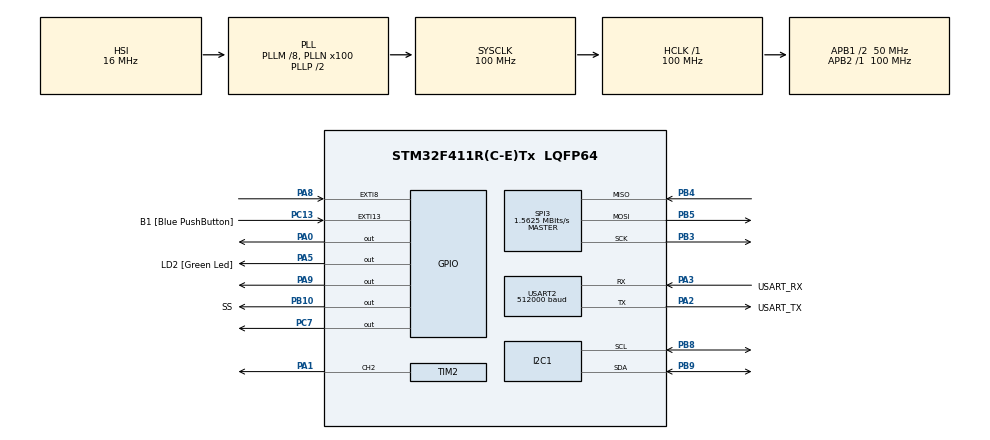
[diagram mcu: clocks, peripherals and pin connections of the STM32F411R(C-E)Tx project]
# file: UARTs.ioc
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Dma.Request0=USART2_TX
Dma.Request1=USART2_RX
Dma.Request2=SPI3_RX
Dma.Request3=SPI3_TX
Dma.SPI3_RX.2.Direction=DMA_PERIPH_TO_MEMORY
Dma.SPI3_RX.2.FIFOMode=DMA_FIFOMODE_DISABLE
Dma.SPI3_RX.2.Instance=DMA1_Stream0
Dma.SPI3_RX.2.MemDataAlignment=DMA_MDATAALIGN_BYTE
Dma.SPI3_RX.2.MemInc=DMA_MINC_ENABLE
Dma.SPI3_RX.2.Mode=DMA_CIRCULAR
Dma.SPI3_RX.2.PeriphDataAlignment=DMA_PDATAALIGN_BYTE
Dma.SPI3_RX.2.PeriphInc=DMA_PINC_DISABLE
Dma.SPI3_RX.2.Priority=DMA_PRIORITY_HIGH
Dma.SPI3_TX.3.Direction=DMA_MEMORY_TO_PERIPH
Dma.SPI3_TX.3.FIFOMode=DMA_FIFOMODE_DISABLE
Dma.SPI3_TX.3.Instance=DMA1_Stream7
Dma.SPI3_TX.3.MemDataAlignment=DMA_MDATAALIGN_BYTE
Dma.SPI3_TX.3.MemInc=DMA_MINC_ENABLE
Dma.SPI3_TX.3.Mode=DMA_NORMAL
Dma.SPI3_TX.3.PeriphDataAlignment=DMA_PDATAALIGN_BYTE
Dma.SPI3_TX.3.PeriphInc=DMA_PINC_DISABLE
Dma.SPI3_TX.3.Priority=DMA_PRIORITY_LOW
Dma.USART2_RX.1.Direction=DMA_PERIPH_TO_MEMORY
Dma.USART2_RX.1.FIFOMode=DMA_FIFOMODE_DISABLE
Dma.USART2_RX.1.Instance=DMA1_Stream5
Dma.USART2_RX.1.MemDataAlignment=DMA_MDATAALIGN_BYTE
Dma.USART2_RX.1.MemInc=DMA_MINC_ENABLE
Dma.USART2_RX.1.Mode=DMA_CIRCULAR
Dma.USART2_RX.1.PeriphDataAlignment=DMA_PDATAALIGN_BYTE
Dma.USART2_RX.1.PeriphInc=DMA_PINC_DISABLE
Dma.USART2_RX.1.Priority=DMA_PRIORITY_VERY_HIGH
Dma.USART2_TX.0.Direction=DMA_MEMORY_TO_PERIPH
Dma.USART2_TX.0.FIFOMode=DMA_FIFOMODE_DISABLE
Dma.USART2_TX.0.Instance=DMA1_Stream6
Dma.USART2_TX.0.MemDataAlignment=DMA_MDATAALIGN_BYTE
Dma.USART2_TX.0.MemInc=DMA_MINC_ENABLE
Dma.USART2_TX.0.Mode=DMA_NORMAL
Dma.USART2_TX.0.PeriphDataAlignment=DMA_PDATAALIGN_BYTE
Dma.USART2_TX.0.PeriphInc=DMA_PINC_DISABLE
Dma.USART2_TX.0.Priority=DMA_PRIORITY_LOW
I2C1.I2C_Mode=I2C_Fast
Mcu.Family=STM32F4
Mcu.Name=STM32F411R(C-E)Tx
Mcu.Package=LQFP64
NVIC.DMA1_Stream0_IRQn=true\:0\:0\:false\:false\:true\:false\:true\:true
NVIC.DMA1_Stream5_IRQn=true\:0\:0\:false\:false\:true\:false\:true\:true
NVIC.DMA1_Stream6_IRQn=true\:0\:0\:false\:false\:true\:false\:true\:true
NVIC.DMA1_Stream7_IRQn=true\:0\:0\:false\:false\:true\:false\:true\:true
NVIC.EXTI15_10_IRQn=true\:0\:0\:false\:false\:true\:true\:true\:true
NVIC.EXTI9_5_IRQn=true\:0\:0\:false\:false\:true\:true\:true\:true
NVIC.I2C1_ER_IRQn=true\:0\:0\:false\:false\:true\:true\:true\:true
NVIC.I2C1_EV_IRQn=true\:0\:0\:false\:false\:true\:true\:true\:true
NVIC.PriorityGroup=NVIC_PRIORITYGROUP_0
NVIC.SPI3_IRQn=true\:0\:0\:false\:false\:true\:true\:true\:true
NVIC.TIM1_TRG_COM_TIM11_IRQn=true\:0\:0\:false\:false\:true\:true\:true\:true
NVIC.TIM2_IRQn=true\:0\:0\:false\:false\:true\:true\:true\:true
NVIC.USART2_IRQn=true\:0\:0\:false\:false\:true\:true\:true\:true
PA0-WKUP.Signal=GPIO_Output
PA1.Signal=S_TIM2_CH2
PA13.GPIO_Label=TMS
PA13.Mode=Serial_Wire
PA13.Signal=SYS_JTMS-SWDIO
PA14.GPIO_Label=TCK
PA14.Mode=Serial_Wire
PA14.Signal=SYS_JTCK-SWCLK
PA2.GPIO_Label=USART_TX
PA2.Mode=Asynchronous
PA2.Signal=USART2_TX
PA3.GPIO_Label=USART_RX
PA3.Mode=Asynchronous
PA3.Signal=USART2_RX
PA5.GPIO_Label=LD2 [Green Led]
PA5.Signal=GPIO_Output
PA8.GPIO_ModeDefaultEXTI=GPIO_MODE_IT_RISING_FALLING
PA8.Signal=GPXTI8
PA9.Signal=GPIO_Output
PB10.GPIO_Label=SS
PB10.Signal=GPIO_Output
PB3.Mode=Full_Duplex_Master
PB3.Signal=SPI3_SCK
PB4.Mode=Full_Duplex_Master
PB4.Signal=SPI3_MISO
PB5.Mode=Full_Duplex_Master
PB5.Signal=SPI3_MOSI
PB8.Mode=I2C
PB8.Signal=I2C1_SCL
PB9.Mode=I2C
PB9.Signal=I2C1_SDA
PC13-ANTI_TAMP.GPIO_Label=B1 [Blue PushButton]
PC13-ANTI_TAMP.GPIO_ModeDefaultEXTI=GPIO_MODE_IT_FALLING
PC13-ANTI_TAMP.Signal=GPXTI13
PC14-OSC32_IN.Mode=LSE-External-Oscillator
PC14-OSC32_IN.Signal=RCC_OSC32_IN
PC15-OSC32_OUT.Mode=LSE-External-Oscillator
PC15-OSC32_OUT.Signal=RCC_OSC32_OUT
PC7.Signal=GPIO_Output
PH0\ -\ OSC_IN.Mode=HSE-External-Clock-Source
PH0\ -\ OSC_IN.Signal=RCC_OSC_IN
PH1\ -\ OSC_OUT.Mode=HSE-External-Clock-Source
PH1\ -\ OSC_OUT.Signal=RCC_OSC_OUT
ProjectManager.HeapSize=0x200
ProjectManager.StackSize=0x400
ProjectManager.TargetToolchain=STM32CubeIDE
RCC.48MHZClocksFreq_Value=50000000
RCC.AHBFreq_Value=100000000
RCC.APB1CLKDivider=RCC_HCLK_DIV2
RCC.APB1Freq_Value=50000000
RCC.APB1TimFreq_Value=100000000
RCC.APB2Freq_Value=100000000
RCC.APB2TimFreq_Value=100000000
RCC.CortexFreq_Value=100000000
RCC.FLatency-AdvancedSettings=FLASH_LATENCY_3
RCC.HCLKFreq_Value=100000000
RCC.HSE_VALUE=8000000
RCC.HSI_VALUE=16000000
RCC.PLLM=8
RCC.PLLN=100
RCC.SYSCLKFreq_VALUE=100000000
RCC.SYSCLKSource=RCC_SYSCLKSOURCE_PLLCLK
RCC.VCOOutputFreq_Value=200000000
SH.S_TIM2_CH2.0=TIM2_CH2,PWM Generation2 CH2
SPI3.BaudRatePrescaler=SPI_BAUDRATEPRESCALER_32
SPI3.CalculateBaudRate=1.5625 MBits/s
SPI3.Direction=SPI_DIRECTION_2LINES
SPI3.Mode=SPI_MODE_MASTER
SPI3.VirtualType=VM_MASTER
TIM11.Prescaler=99
TIM2.Channel-PWM\ Generation2\ CH2=TIM_CHANNEL_2
TIM2.Period=9999
TIM2.Prescaler=99
USART2.BaudRate=512000
USART2.Parity=PARITY_EVEN
USART2.VirtualMode=VM_ASYNC
USART2.WordLength=WORDLENGTH_9B
VP_TIM11_VS_ClockSourceINT.Mode=Enable_Timer
VP_TIM2_VS_ClockSourceINT.Mode=Internal
board=NUCLEO-F411RE

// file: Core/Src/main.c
/* USER CODE BEGIN Header */
/**
  ******************************************************************************
  * @file           : main.c
  * @brief          : Main program body
  ******************************************************************************
  * @attention
  *
  * Copyright (c) 2022 STMicroelectronics.
  * All rights reserved.
  *
  * This software is licensed under terms that can be found in the LICENSE file
  * in the root directory of this software component.
  * If no LICENSE file comes with this software, it is provided AS-IS.
  *
  ******************************************************************************
  */
/* USER CODE END Header */
#include "main.h"

/* USER CODE BEGIN Includes */
#include <stdio.h>
#include <string.h>
#include <stdlib.h>
#include <math.h>
/* USER CODE END Includes */

/* USER CODE BEGIN PD */
//Parameter for Adjust
#define dt 0.01
#define Q 10000000
#define R 500000000
#define NFW_ADDR (0x23)<<1
#define NFR_ADDR ((0x23)<<1)+1
/* USER CODE END PD */

 I2C_HandleTypeDef hi2c1;

SPI_HandleTypeDef hspi3;
DMA_HandleTypeDef hdma_spi3_rx;
DMA_HandleTypeDef hdma_spi3_tx;

TIM_HandleTypeDef htim2;
TIM_HandleTypeDef htim11;

UART_HandleTypeDef huart2;
DMA_HandleTypeDef hdma_usart2_tx;
DMA_HandleTypeDef hdma_usart2_rx;

/* USER CODE BEGIN PV */
float velo_Kp = 0;
float velo_Ki = 0;
float velo_Kd = 0;
float pos_Kp = 4.07697250571067;
float pos_Ki = 3.71617437483172;
float pos_Kd = 0.25445435315971;
uint8_t setinitial = 1;
//float offset = 1.59;
float offset = 1.57;
/* ---------------------------- < Communications's VARIABLE > ------ */

// ---------------------------- < State machine >
uint8_t nDestination = 0;			// Amount of destination.
uint16_t Destination[50] = {0};		// List of destinations.

uint8_t nStation = 0;				// Amount of station.			(NOT AVAILABLE, JUST FOR SHOWING)
uint8_t Station[50] = {0};			// Station stack.				(NOT AVAILABLE, JUST FOR SHOWING)
uint8_t nowStation = 0;				// Now position of machine.		(NOT AVAILABLE, JUST FOR SHOWING)
uint8_t j = 0;

uint8_t Reached = 0;				// Reached destination. (final destination)
uint8_t movingFlag = 0;				// Moving flag for each command(5,8,14). -> can implement single variable and assign different value

float rad = 0;
float limitOmega = 5;				// Limited angular velocity by the Base system.
float topOmega = 0;					// Top angular velocity recorded.ของเรา
uint8_t n = 0;						// Check for count

// ---------------------------- < UART >
uint8_t ACK1[2] = {88,117};
uint8_t ACK2[2] = {70,110};

uint8_t TxState = 0;				// Transmit state.
uint8_t RxState = 0;				// Receive state.
uint8_t Start = 0;					// Start bit of command.
uint8_t Mode = 0;					// Mode bit of command.
uint8_t nbyte = 1;					// 1 bytes by default.
uint8_t sum = 0;					// Sum of frame.

uint8_t Transmit[4] = {0};			// Transmit Buffer.
uint8_t Receive[16] = {0};			// Receive Buffer	-> Receive 1 bytes by default. ,260 bytes are maximum all of case. (+1(Header)+1(n Station)+256(max Station)+1(Checksum)=259bytes)
uint8_t keepACK[2] = {0};

uint8_t RxComplete = 0;			// Interrupt each period buffer(Receive[nbyte]).
uint8_t endReceive = 0;				// Flag to reset after finished transmission of frame.
uint8_t ACKFlag = 0;				// Received ACK flag.
uint32_t timeStamp = 0;				// Optional.
uint16_t HMEtimeStamp = 0;		// time stamp for transmit zero(theta) to base system.
float send_velocity;

//I2C
uint8_t NFREG_ON = 0x45;
uint8_t NFREG_INIT = 0x23;

uint8_t NFenable = 1;
uint8_t NFstate = 0;
uint8_t NFwriteFlag = 1;
uint8_t NFreadFlag = 0;

uint16_t NFtimest = 0;
uint64_t NFtimeout = 0;
uint8_t stateI2C = 0;

//spi
const float PI = 3.14159265;
uint8_t AMTGETPOS[2] 	= { 0x00, 0x00};					// Read position.
uint8_t AMTGETTURN[4] 	= { 0x00, 0xA0, 0x00, 0x00};		// Read turn.
uint8_t AMTRESET[2] 	= { 0x00, 0x60};					// Reset encoder.
uint8_t AMTHbyte;										// Received data high byte.
uint8_t AMTLbyte;										// Received data low byte.
uint8_t AMTlogic_checkbit = 0;								// Checkbit logic.
uint16_t rawPos = 0;										// Position variable
float current_rad = 0;												// Angle in radiant unit.
float current_rad_wrap = 0;
float deg = 0;												// Angle in degree unit.
uint8_t trigger = 0;
uint8_t AMTstate = 0;
uint8_t AMTcomplete = 1;

//Unwrapping
float p_n = 0;
float p_n_1 = 0; // input data ที่ n-1
float p_0 = 0; // ตัว�?ปร p0[n]
float p_0_1 = 0; // ตัว�?ปร p0[n-1]
float p_max = 2*PI; // �?ำหนดให้ค่า p_max อยู่ที่ 2*pi
float e = 0.65*2*PI;

//Parameter for coding
uint8_t setzero = 0;
uint64_t _micro = 0;
uint8_t stop = 0;
float kal_position = 0; //Collect Result
float kal_velocity = 0; //Collect Result
float kal_acceleration = 0; //Collect Result
float tra_pos = 0;
float tra_velo = 0;
float tra_acc = 0;
static float tb;
static float vb_n;
static float tf;
float tua;
static float tuaall;
float tuastart = 0.1;
float inputpos = 0; //rad_in
float inputdeg = 0; //deg_in
float inputrpm = 5;
float postotra = 0;
float rad_before;
uint8_t direct = 1;
uint8_t update = 0;
uint8_t blue = 0;
uint8_t start_tra;
enum{Idle,Working, Laser,Emerstop}State = Idle;
float velostart;
uint8_t PIDon = 0;
float ch_velo;
float finish = 0;
float firstcheck = 1;
float ch;

//PID
float limMin = -100;
float limMax = 100;
float integrator;
float prevError;
float differentiator;
float prevMeasurement;
float integrator2;
float prevError2;
float differentiator2;
float prevMeasurement2;
float PIDout;
float poscommand;
float velocom;
float error;
float volt_controller;

//Parameters For Kalman filer
float DegAbs[3][3]; // Z_k
float multiply[3][3];
float pm3_3[3][3];
float collect3_3[3][3];
float y_k[3][3];
float S_k[3][3];
float K_k[3][3];
float I[3][3] = {{1,0,0},{0,1,0},{0,0,1}};
float F_t[3][3] = {{1,dt,(dt*dt)/2},{0,1,dt},{0,0,1}};
float F_t_tran[3][3] = {{1,0,0},{dt,1,0},{(dt*dt)/2,dt,1}};
float H_t[3][3] = {{0,1,0}};
float H_t_tran[3][3] = {{0},{1},{0}};
float R_t[3][3] = {{R}};
float X_t[3][3];
float X_hat_t[3][3] = {{0},{0},{0}};
float P_t[3][3] = {{0,0,0},{0,0,0},{0,0,0}};
float P_hat_t[3][3];
float Q_t[3][3] = {{Q*dt*dt*dt*dt/4,Q*dt*dt*dt/2,Q*dt*dt/2},{Q*dt*dt*dt/2,Q*dt*dt,Q*dt},{Q*dt*dt/2,Q*dt,Q}}; // G*Q_variance*G'
float velo_lowpass;
float prevlowpass;
float velo_diff;
float prevPos;
float pos_lowpass;
float prevposlowpass;

float velo_diff2;
float prevPos2;

//Inverse tranfer
float volt_inverse;
float x_n;
float x_n_1;
float x_n_2;
float y_n_1;
/* USER CODE END PV */

void SystemClock_Config(void);
static void MX_GPIO_Init(void);
static void MX_DMA_Init(void);
static void MX_USART2_UART_Init(void);
static void MX_TIM11_Init(void);
static void MX_SPI3_Init(void);
static void MX_TIM2_Init(void);
static void MX_I2C1_Init(void);
/* USER CODE BEGIN PFP */
//Control
void Trajectory(float qf,float vb);
void Drivemotor(int PWM);
uint64_t micros();
uint32_t aaabs(int x);
void Multiply_matrix(float A[][3], float B[][3],float multiply[][3],int row1,int col1,int row2,int col2);
void PlusOrMinus(float A[][3], float B[][3],int row,int col,int con);
void equal(float A[][3],float B[][3],int row,int col);
void prediction(X_hat_t_1, P_t_1, F_t, Q_t);
void Update(X_hat_t, P_hat_t, DegAbs, R_t, H_t);
void CascadeController();
void lowpass();
void reset();
void Diff_velo();
void inverse_tran();
void MoveToStation();
void set_initial();
void set_home();
void Kalman_filter();
//spi
void AMT222getpos();
uint8_t AMT222checkbit( uint8_t *H, uint8_t *L);
void microsecDelay(uint8_t delayTime);
void unwrapping();
//uart
void callUART();
void responseUART();
void destinationACK();
uint16_t tranStation(uint8_t num);
uint8_t frameConfig(uint8_t mode);
uint8_t checkSum(uint8_t var);
uint8_t frameSum(uint8_t *frame, uint8_t num);
//I2C
void NFcontacton();
void NFgetstate();

/* USER CODE END PFP */

int main(void)
{

  /* MCU Configuration--------------------------------------------------------*/

  /* Reset of all peripherals, Initializes the Flash interface and the Systick. */
  HAL_Init();

  /* Configure the system clock */
  SystemClock_Config();

  /* Initialize all configured peripherals */
  MX_GPIO_Init();
  MX_DMA_Init();
  MX_USART2_UART_Init();
  MX_TIM11_Init();
  MX_SPI3_Init();
  MX_TIM2_Init();
  MX_I2C1_Init();
  /* USER CODE BEGIN 2 */

  HAL_TIM_Base_Start_IT(&htim11);
  HAL_UART_Receive_DMA(&huart2, Receive, nbyte);
  NFgetstate();
  NFstate = 0x78;
  //PWM Generator set
  HAL_TIM_Base_Start(&htim2);
  HAL_TIM_PWM_Start(&htim2, TIM_CHANNEL_1);
  HAL_TIM_PWM_Start(&htim2, TIM_CHANNEL_2);

  //Encoder set
  HAL_GPIO_WritePin(GPIOB, GPIO_PIN_10, GPIO_PIN_SET);

  movingFlag = 14;

  /* USER CODE END 2 */

  /* Infinite loop */
  /* USER CODE BEGIN WHILE */
  while (1)
  {
	  static uint64_t timeset = 0;
	  static uint64_t timeset2 = 0;
	  static uint64_t timeset3 = 0;
	  static uint64_t timeStamp = 0;
	  static GPIO_PinState B1State2[2] = {0};
	  B1State2[0]= HAL_GPIO_ReadPin(GPIOA, GPIO_PIN_8);

	  if(AMTcomplete || micros()-timeStamp>dt*1000){
	  		 AMT222getpos(&rawPos);
	  		 //Drivemotor(PIDout);
	  	  }

	  switch(State){
	  default:
		  case Idle:
			  HAL_GPIO_WritePin(GPIOA, GPIO_PIN_9, GPIO_PIN_RESET);
			  HAL_GPIO_WritePin(GPIOC, GPIO_PIN_7, GPIO_PIN_SET);
			  if (micros() - timeset3 > dt*1000000){ //Read Value while Idle
				  lowpass();
				  Diff_velo();
				  Kalman_filter();
				  timeset3 = micros();
			  }

			  if(setinitial == 1){ // Condition for first start
				  set_initial();
			  }

			  if(setzero == 1){ // Condition for Set home
				  set_home();
			  }

			  if(update == 1){ //UART Update
				  MoveToStation();
			  }

			  if(stop == 1){
					State = Emerstop;
					Drivemotor(0);
				}

			  if(blue == 1){ // Blue Button Switch
				  postotra = 3.14;
				  limitOmega = 5;
				  direct = 1;
				  rad_before = current_rad;
				  State = Working;
			  }
			  break;

		  case Working:
			blue = 0;
			HAL_GPIO_WritePin(GPIOA, GPIO_PIN_9, GPIO_PIN_SET);
			HAL_GPIO_WritePin(GPIOC, GPIO_PIN_7, GPIO_PIN_RESET);
			if (micros() - timeset > dt*1000000) { //1000 Hz
				lowpass();
				Diff_velo();
				Kalman_filter();
				if(postotra > 0.2){
					Trajectory(postotra,limitOmega);
					inverse_tran();
					CascadeController();
					/*if(PIDon == 1){
						inverse_tran();
						CascadeController();
					}
					else{
						if(postotra < 0.349){
							PIDon = 1;
						}
						if(direct == 1){
							PIDout = 2500;
							if(velo_diff >= tra_velo && tra_velo != 0){
								PIDon = 1;
							}
						}
						else{
							PIDout = -2500;
							if(velo_diff <= tra_velo && tra_velo != 0){
								PIDon = 1;
							}
						}
						error = tra_velo - velo_diff;
						prevError = error;
					}*/
				}
				else{
					if(tuaall < 0.1){ //short distant 5,10 degree
						if(direct == 1){
							PIDout = 2100;}
						else{
							PIDout = -2100;}
					}
					else{
						if(direct == 1){
							PIDout = 1000;}
						else{
							PIDout = -1000;}
					}
					tf = 0;
				}
				Drivemotor(PIDout);
				tuaall += dt;
				timeset = micros();
			}

			if(tuaall > tf && setzero == 0){ //End of working should do this condition
				if(direct == 1){
					if(deg > Destination[n]-0.5){
						finish = 1;
					}
				}
				else
				{
					if(deg < Destination[n]+0.1){
						finish = 1;
					}
				}
				if(finish == 1){
					State = Laser;
					NFwriteFlag = 1;
					NFtimeout = HAL_GetTick();
				}
			}

			if(tuaall > 15 && tuaall > tf){ //Condition when moving error
				State = Laser;
				NFwriteFlag = 1;
				NFtimeout = HAL_GetTick();
			}

			if(stop == 1){
				State = Emerstop;
				Drivemotor(0);
			}
			break;

		  case Emerstop:
			HAL_GPIO_WritePin(GPIOA, GPIO_PIN_9, GPIO_PIN_RESET);
			HAL_GPIO_WritePin(GPIOC, GPIO_PIN_7, GPIO_PIN_RESET);
			HAL_Delay(100);
			if(B1State2[1] == GPIO_PIN_SET && B1State2[0] == GPIO_PIN_RESET){
				reset();
				nDestination = 0;
				n = 0;
				State = Idle;
				stop = 0;
				setzero = 1;
			}
			B1State2[1] = B1State2[0];
			break;

		  case Laser:
			  if (micros() - timeset2 > dt*1000000){ //Read Value while Laser
				  lowpass();
				  Diff_velo();
				  Kalman_filter();
				  timeset2 = micros();
			  }
			if(setzero == 1){
				State = Idle;
				stateI2C = 0;
				reset();
				break;
			}

			reset();

			// time is not over 5.2sec -> continue laser state.
			if(HAL_GetTick()-NFtimeout < 5200){
				switch(stateI2C){
				case 0:
					// check the ready of NFfector. Then turn it on.
					switch(NFenable){
					case 1:
						NFgetstate();
						if( NFwriteFlag && NFstate == 0x78 && (hi2c1.State == HAL_I2C_STATE_READY) ){
							NFcontacton();
							NFwriteFlag = 0;		// Reached var.
						}else if(NFstate == 0x12 || NFstate == 0x34 || NFstate == 0x56){
							stateI2C = 1;
							NFstate = 0;			// Reset NF fector state for sure.
						}
						break;
					// Basesystem button was closed.
					case 0:
						// do nothing (wait 5.2sec).
						// when finished wait -> go to else condition below.
						break;
					}
					break;
				case 1:
					// Then check that NFfector was closed. -> reset and go to Idle state.
					NFgetstate();
					if(NFstate == 0x78){
						n++;
						if(n < nDestination){
							update = 1;
						}
						else if(n == nStation || n == nDestination){
							update = 0;
							Reached = 1;
							nDestination = 0;
							n = 0;
						}
						stateI2C = 0;
						State = Idle;
					}
					break;
				}
			}
			// 5.2sec time-out -> go to Idle state.
			else{
				n++;
				if(n < nDestination){
					update = 1;
				}
				else if(n == nStation || n == nDestination){
					update = 0;
					Reached = 1;
					nDestination = 0;
					n = 0;
				}
				stateI2C = 0;
				State = Idle;
			}
			break;
	  }

	  responseUART();
	  rad = current_rad_wrap;

	  // Keep this work flow at the bottom of while loop. bo Reached will be reset here.
	  destinationACK();

    /* USER CODE END WHILE */

  }
}

void SystemClock_Config(void)
{
  RCC_OscInitTypeDef RCC_OscInitStruct = {0};
  RCC_ClkInitTypeDef RCC_ClkInitStruct = {0};

  /** Configure the main internal regulator output voltage
  */
  __HAL_RCC_PWR_CLK_ENABLE();
  __HAL_PWR_VOLTAGESCALING_CONFIG(PWR_REGULATOR_VOLTAGE_SCALE1);

  /** Initializes the RCC Oscillators according to the specified parameters
  * in the RCC_OscInitTypeDef structure.
  */
  RCC_OscInitStruct.OscillatorType = RCC_OSCILLATORTYPE_HSI;
  RCC_OscInitStruct.HSIState = RCC_HSI_ON;
  RCC_OscInitStruct.HSICalibrationValue = RCC_HSICALIBRATION_DEFAULT;
  RCC_OscInitStruct.PLL.PLLState = RCC_PLL_ON;
  RCC_OscInitStruct.PLL.PLLSource = RCC_PLLSOURCE_HSI;
  RCC_OscInitStruct.PLL.PLLM = 8;
  RCC_OscInitStruct.PLL.PLLN = 100;
  RCC_OscInitStruct.PLL.PLLP = RCC_PLLP_DIV2;
  RCC_OscInitStruct.PLL.PLLQ = 4;
  if (HAL_RCC_OscConfig(&RCC_OscInitStruct) != HAL_OK)
  {
    Error_Handler();
  }

  /** Initializes the CPU, AHB and APB buses clocks
  */
  RCC_ClkInitStruct.ClockType = RCC_CLOCKTYPE_HCLK|RCC_CLOCKTYPE_SYSCLK
                              |RCC_CLOCKTYPE_PCLK1|RCC_CLOCKTYPE_PCLK2;
  RCC_ClkInitStruct.SYSCLKSource = RCC_SYSCLKSOURCE_PLLCLK;
  RCC_ClkInitStruct.AHBCLKDivider = RCC_SYSCLK_DIV1;
  RCC_ClkInitStruct.APB1CLKDivider = RCC_HCLK_DIV2;
  RCC_ClkInitStruct.APB2CLKDivider = RCC_HCLK_DIV1;

  if (HAL_RCC_ClockConfig(&RCC_ClkInitStruct, FLASH_LATENCY_3) != HAL_OK)
  {
    Error_Handler();
  }
}

static void MX_I2C1_Init(void)
{

  hi2c1.Instance = I2C1;
  hi2c1.Init.ClockSpeed = 400000;
  hi2c1.Init.DutyCycle = I2C_DUTYCYCLE_2;
  hi2c1.Init.OwnAddress1 = 0;
  hi2c1.Init.AddressingMode = I2C_ADDRESSINGMODE_7BIT;
  hi2c1.Init.DualAddressMode = I2C_DUALADDRESS_DISABLE;
  hi2c1.Init.OwnAddress2 = 0;
  hi2c1.Init.GeneralCallMode = I2C_GENERALCALL_DISABLE;
  hi2c1.Init.NoStretchMode = I2C_NOSTRETCH_DISABLE;
  if (HAL_I2C_Init(&hi2c1) != HAL_OK)
  {
    Error_Handler();
  }

}

static void MX_SPI3_Init(void)
{

  /* SPI3 parameter configuration*/
  hspi3.Instance = SPI3;
  hspi3.Init.Mode = SPI_MODE_MASTER;
  hspi3.Init.Direction = SPI_DIRECTION_2LINES;
  hspi3.Init.DataSize = SPI_DATASIZE_8BIT;
  hspi3.Init.CLKPolarity = SPI_POLARITY_LOW;
  hspi3.Init.CLKPhase = SPI_PHASE_1EDGE;
  hspi3.Init.NSS = SPI_NSS_SOFT;
  hspi3.Init.BaudRatePrescaler = SPI_BAUDRATEPRESCALER_32;
  hspi3.Init.FirstBit = SPI_FIRSTBIT_MSB;
  hspi3.Init.TIMode = SPI_TIMODE_DISABLE;
  hspi3.Init.CRCCalculation = SPI_CRCCALCULATION_DISABLE;
  hspi3.Init.CRCPolynomial = 10;
  if (HAL_SPI_Init(&hspi3) != HAL_OK)
  {
    Error_Handler();
  }

}

static void MX_TIM2_Init(void)
{

  TIM_ClockConfigTypeDef sClockSourceConfig = {0};
  TIM_MasterConfigTypeDef sMasterConfig = {0};
  TIM_OC_InitTypeDef sConfigOC = {0};

  htim2.Instance = TIM2;
  htim2.Init.Prescaler = 99;
  htim2.Init.CounterMode = TIM_COUNTERMODE_UP;
  htim2.Init.Period = 9999;
  htim2.Init.ClockDivision = TIM_CLOCKDIVISION_DIV1;
  htim2.Init.AutoReloadPreload = TIM_AUTORELOAD_PRELOAD_DISABLE;
  if (HAL_TIM_Base_Init(&htim2) != HAL_OK)
  {
    Error_Handler();
  }
  sClockSourceConfig.ClockSource = TIM_CLOCKSOURCE_INTERNAL;
  if (HAL_TIM_ConfigClockSource(&htim2, &sClockSourceConfig) != HAL_OK)
  {
    Error_Handler();
  }
  if (HAL_TIM_PWM_Init(&htim2) != HAL_OK)
  {
    Error_Handler();
  }
  sMasterConfig.MasterOutputTrigger = TIM_TRGO_RESET;
  sMasterConfig.MasterSlaveMode = TIM_MASTERSLAVEMODE_DISABLE;
  if (HAL_TIMEx_MasterConfigSynchronization(&htim2, &sMasterConfig) != HAL_OK)
  {
    Error_Handler();
  }
  sConfigOC.OCMode = TIM_OCMODE_PWM1;
  sConfigOC.Pulse = 0;
  sConfigOC.OCPolarity = TIM_OCPOLARITY_HIGH;
  sConfigOC.OCFastMode = TIM_OCFAST_DISABLE;
  if (HAL_TIM_PWM_ConfigChannel(&htim2, &sConfigOC, TIM_CHANNEL_2) != HAL_OK)
  {
    Error_Handler();
  }
  HAL_TIM_MspPostInit(&htim2);

}

static void MX_TIM11_Init(void)
{

  htim11.Instance = TIM11;
  htim11.Init.Prescaler = 99;
  htim11.Init.CounterMode = TIM_COUNTERMODE_UP;
  htim11.Init.Period = 65535;
  htim11.Init.ClockDivision = TIM_CLOCKDIVISION_DIV1;
  htim11.Init.AutoReloadPreload = TIM_AUTORELOAD_PRELOAD_DISABLE;
  if (HAL_TIM_Base_Init(&htim11) != HAL_OK)
  {
    Error_Handler();
  }

}

static void MX_USART2_UART_Init(void)
{

  huart2.Instance = USART2;
  huart2.Init.BaudRate = 512000;
  huart2.Init.WordLength = UART_WORDLENGTH_9B;
  huart2.Init.StopBits = UART_STOPBITS_1;
  huart2.Init.Parity = UART_PARITY_EVEN;
  huart2.Init.Mode = UART_MODE_TX_RX;
  huart2.Init.HwFlowCtl = UART_HWCONTROL_NONE;
  huart2.Init.OverSampling = UART_OVERSAMPLING_16;
  if (HAL_UART_Init(&huart2) != HAL_OK)
  {
    Error_Handler();
  }

}

static void MX_DMA_Init(void)
{

  /* DMA controller clock enable */
  __HAL_RCC_DMA1_CLK_ENABLE();

  /* DMA interrupt init */
  /* DMA1_Stream0_IRQn interrupt configuration */
  HAL_NVIC_SetPriority(DMA1_Stream0_IRQn, 0, 0);
  HAL_NVIC_EnableIRQ(DMA1_Stream0_IRQn);
  /* DMA1_Stream5_IRQn interrupt configuration */
  HAL_NVIC_SetPriority(DMA1_Stream5_IRQn, 0, 0);
  HAL_NVIC_EnableIRQ(DMA1_Stream5_IRQn);
  /* DMA1_Stream6_IRQn interrupt configuration */
  HAL_NVIC_SetPriority(DMA1_Stream6_IRQn, 0, 0);
  HAL_NVIC_EnableIRQ(DMA1_Stream6_IRQn);
  /* DMA1_Stream7_IRQn interrupt configuration */
  HAL_NVIC_SetPriority(DMA1_Stream7_IRQn, 0, 0);
  HAL_NVIC_EnableIRQ(DMA1_Stream7_IRQn);

}

static void MX_GPIO_Init(void)
{
  GPIO_InitTypeDef GPIO_InitStruct = {0};

  /* GPIO Ports Clock Enable */
  __HAL_RCC_GPIOC_CLK_ENABLE();
  __HAL_RCC_GPIOH_CLK_ENABLE();
  __HAL_RCC_GPIOA_CLK_ENABLE();
  __HAL_RCC_GPIOB_CLK_ENABLE();

  /*Configure GPIO pin Output Level */
  HAL_GPIO_WritePin(GPIOA, GPIO_PIN_0|LD2_Pin|GPIO_PIN_9, GPIO_PIN_RESET);

  /*Configure GPIO pin Output Level */
  HAL_GPIO_WritePin(SS_GPIO_Port, SS_Pin, GPIO_PIN_RESET);

  /*Configure GPIO pin Output Level */
  HAL_GPIO_WritePin(GPIOC, GPIO_PIN_7, GPIO_PIN_RESET);

  /*Configure GPIO pin : B1_Pin */
  GPIO_InitStruct.Pin = B1_Pin;
  GPIO_InitStruct.Mode = GPIO_MODE_IT_FALLING;
  GPIO_InitStruct.Pull = GPIO_NOPULL;
  HAL_GPIO_Init(B1_GPIO_Port, &GPIO_InitStruct);

  /*Configure GPIO pins : PA0 LD2_Pin PA9 */
  GPIO_InitStruct.Pin = GPIO_PIN_0|LD2_Pin|GPIO_PIN_9;
  GPIO_InitStruct.Mode = GPIO_MODE_OUTPUT_PP;
  GPIO_InitStruct.Pull = GPIO_NOPULL;
  GPIO_InitStruct.Speed = GPIO_SPEED_FREQ_LOW;
  HAL_GPIO_Init(GPIOA, &GPIO_InitStruct);

  /*Configure GPIO pin : SS_Pin */
  GPIO_InitStruct.Pin = SS_Pin;
  GPIO_InitStruct.Mode = GPIO_MODE_OUTPUT_PP;
  GPIO_InitStruct.Pull = GPIO_NOPULL;
  GPIO_InitStruct.Speed = GPIO_SPEED_FREQ_LOW;
  HAL_GPIO_Init(SS_GPIO_Port, &GPIO_InitStruct);

  /*Configure GPIO pin : PC7 */
  GPIO_InitStruct.Pin = GPIO_PIN_7;
  GPIO_InitStruct.Mode = GPIO_MODE_OUTPUT_PP;
  GPIO_InitStruct.Pull = GPIO_NOPULL;
  GPIO_InitStruct.Speed = GPIO_SPEED_FREQ_LOW;
  HAL_GPIO_Init(GPIOC, &GPIO_InitStruct);

  /*Configure GPIO pin : PA8 */
  GPIO_InitStruct.Pin = GPIO_PIN_8;
  GPIO_InitStruct.Mode = GPIO_MODE_IT_RISING_FALLING;
  GPIO_InitStruct.Pull = GPIO_NOPULL;
  HAL_GPIO_Init(GPIOA, &GPIO_InitStruct);

  /* EXTI interrupt init*/
  HAL_NVIC_SetPriority(EXTI9_5_IRQn, 0, 0);
  HAL_NVIC_EnableIRQ(EXTI9_5_IRQn);

  HAL_NVIC_SetPriority(EXTI15_10_IRQn, 0, 0);
  HAL_NVIC_EnableIRQ(EXTI15_10_IRQn);

}

/* USER CODE BEGIN 4 */

//----------------------------------------------------------------< CONTROL >
void CascadeController()
{
	/*if(tuaall < tb/2 && postotra > 0.2){
		pos_Kp = 3.07697250571067;
		pos_Ki = 0.71617437483172;
		pos_Kd = 0.25445435315971;
		velo_Kp = 0.5;
		velo_Ki = 0;
		velo_Kd = 0;
		/*if(direct == 1){
			if(kal_velocity > tra_velo){
				kal_velocity = tra_velo;
			}
		}
		else{
			if(kal_velocity < tra_velo){
				kal_velocity = tra_velo;
			}
		}
	}*/
	if(start_tra == 2){
		if(postotra > 0.349){
			pos_Kp = 2.07697250571067;
			pos_Ki = 1.01617437483172;
			pos_Kd = 0.2545435315971;
			velo_Kp = 0.75;
			velo_Ki = 0;
			velo_Kd = 0;}
		else{
			pos_Kp = 4.07697250571067;
			pos_Ki = 2.71617437483172;
			pos_Kd = 1.2545435315971;
			velo_Kp = 0.5;
			velo_Ki = 0;
			velo_Kd = 0;
		}
	}
	else{
		if(postotra > 0.349){
			pos_Kp = 4.07697250571067;
			pos_Ki = 2.71617437483172;
			pos_Kd = 1.2545435315971;
			velo_Kp = 1.5;
			velo_Ki = 0;
			velo_Kd = 0;}
		else{
			pos_Kp = 4.07697250571067;
			pos_Ki = 2.71617437483172;
			pos_Kd = 1.2545435315971;
			velo_Kp = 1;
			velo_Ki = 0;
			velo_Kd = 0;
		}
	}

	if(tuaall > tf-(tb/3)){
		if(postotra > 0.349){
			pos_Kp = 7.07697250571067;
			pos_Ki = 3.71617437483172;
			pos_Kd = 2.25445435315971;
			velo_Kp = 2;
			velo_Ki = 0;
			velo_Kd = 0;}
		else{
			pos_Kp = 4.07697250571067;
			pos_Ki = 2.71617437483172;
			pos_Kd = 1.2545435315971;
			velo_Kp = 1;
			velo_Ki = 0;
			velo_Kd = 0;
		}
	}
	//position control******
	float error2 = tra_pos - current_rad_wrap; //setpoint - new_Data
	float proportional2 = pos_Kp * error2;
	integrator2 = integrator2 + (0.5*pos_Ki*dt*(error2+prevError2));
	float limMinInt2, limMaxInt2;
	if(limMax > proportional2){
		limMaxInt2 = limMax - proportional2;}
	else{
		limMaxInt2 = 0.0;}
	if(limMin < proportional2){
		limMinInt2 = limMin - proportional2;}
	else{
		limMinInt2 = 0.0;}
	//Clamp integrator
	if(integrator2 > limMaxInt2){
		integrator2 = limMaxInt2;}
	else if(integrator2 < limMinInt2){
		integrator2 = limMinInt2;}

	//differentiator2 = (2*pos_Kd*(kal_position-prevMeasurement2)+(2*tuaall-dt)*differentiator2)/(2*tuaall+dt);
	differentiator2 = error2 - prevError2;
	poscommand = proportional2 + integrator2 + (pos_Kd*differentiator2);

	//velocity control*******

	if(direct == 1){
		ch_velo = kal_velocity;
		if(ch_velo > limitOmega/9.5493){
			kal_velocity = limitOmega/9.5493;
		}
	}
	else{
		ch_velo = kal_velocity*-1;
		if(ch_velo > limitOmega/9.5493){
			kal_velocity = (limitOmega/9.5493)*-1;
		}
	}

	error = tra_velo+poscommand - kal_velocity; //setpoint+poscom - new_Data
	float proportional = velo_Kp * error;
	integrator = integrator + (0.5*velo_Ki*dt*(error+prevError));
	float limMinInt, limMaxInt;
	if(limMax > proportional){
		limMaxInt = limMax - proportional;}
	else{
		limMaxInt = 0.0;}
	if(limMin < proportional){
		limMinInt = limMin - proportional;}
	else{
		limMinInt = 0.0;}
	//Clamp integrator
	if(integrator > limMaxInt){
		integrator = limMaxInt;}
	else if(integrator < limMinInt){
		integrator = limMinInt;}

	//differentiator = (2*velo_Kd*(kal_velocity-prevMeasurement)+(2*tuaall-dt)*differentiator)/(2*tuaall+dt);
	differentiator = error - prevError;
	volt_controller = proportional + integrator + (velo_Kd*differentiator);
	if(volt_controller > 12.0){
		volt_controller = 12.0;}
	else if(volt_controller < -12.0){
		volt_controller = -12.0;}

	//PIDout = PIDout*10000/12.0;
	PIDout = (volt_inverse+volt_controller)*10000/12.0;
	/*if(tuaall > tf){
		if(direct == 1){
			PIDout = 1200;}
		else{
			PIDout = -1200;
		}
	}*/
	//****try****//
	/*if(limitOmega > 4){
		tuastart = 0;
	}
	else{
		tuastart = 0;
	}

	if(tuaall <= tuastart){
		if(direct == 1){
			PIDout = 2500;}
		else{
			PIDout = -2500;
		}
	}*/
	/*if(start_tra == 1){
		if(PIDout < 2500 && PIDout > -2500){
			if(direct == 1){
				PIDout = 2500;}
			else{
				PIDout = -2500;
			}
		}
	}*/
	/*if(start_tra ==1){
		if(direct == 1){
			if(PIDout < 0){
				PIDout = 0;
			}
		}
		else{
			if(PIDout < 0){
				PIDout = 0;
			}
		}
	}*/
	prevError2 = error2;
	prevMeasurement2 = current_rad_wrap;
	prevError = error;
	prevMeasurement = kal_velocity;
}

void reset()
{
	tuaall = 0;
	Drivemotor(0);
	PIDon = 0;
	PIDout = 0;
	finish = 0;
}

void set_initial()
{
	  static uint64_t timeset2 = 0;
	  if (timeset2 < 500000) {
		  Drivemotor(-2500);
		  ;}
	  else if (timeset2 < 1500000) {
		  Drivemotor(2500);
		  ;}
	  else{
		  Drivemotor(-2500);
		  if(current_rad >= 1.55 && current_rad <= 1.6){
			  Reached = 1;
			  HMEtimeStamp = HAL_GetTick();
			  setinitial = 0;
			  Drivemotor(0);
		  }
	  }
	  timeset2 = micros();
}

void set_home()
{
	  Drivemotor(-2500);
	  if(current_rad_wrap <= 0){
		  Reached = 1;
		  HMEtimeStamp = HAL_GetTick();
		  setzero = 0;
		  Drivemotor(0);
	  }
}

void MoveToStation()
{
//	  if(firstcheck == 1){
//		  if(Destination[n] != 0){
//			  inputpos = Destination[n]/57.2957795;
//			  postotra = inputpos-current_rad_wrap;
//			  rad_before = current_rad_wrap;
//			  if(postotra >= 0){
//				  direct = 1;}
//			  else{
//				  postotra = postotra*-1;
//				  direct = 0;}
//			  State = Working;
//			  firstcheck = 0;
//			  update = 0;
//		  }
//	  }
//	  else{
//		  inputpos = Destination[n]/57.2957795;
//		  postotra = inputpos-current_rad_wrap;
//		  rad_before = current_rad_wrap;
//		  if(postotra >= 0){
//			  direct = 1;}
//		  else{
//			  postotra = postotra*-1;
//			  direct = 0;}
//		  State = Working;
//		  update = 0;
//	  }
	  inputpos = Destination[n]/57.2957795;
	  postotra = inputpos-current_rad_wrap;
	  rad_before = current_rad_wrap;
	  if(postotra >= 0){
		  direct = 1;}
	  else{
		  postotra = postotra*-1;
		  direct = 0;}
	  State = Working;
	  update = 0;
}

void inverse_tran(){
	x_n = tra_velo;
	volt_inverse = (x_n - (0.9724*x_n_1) + (0.003346*x_n_2) - (0.0004612*y_n_1))/0.002803;
	x_n_2 = x_n_1;
	x_n_1 = x_n;
	y_n_1 = volt_inverse;
}
void lowpass()
{
	velo_lowpass = 0.99529869*velo_lowpass + 0.00235066*kal_velocity + 0.00235066*prevlowpass;
	prevlowpass = kal_velocity;
	pos_lowpass = 0.96906992*pos_lowpass + 0.01546504*current_rad_wrap + 0.01546504*prevposlowpass;
	prevposlowpass = current_rad_wrap;
}
void Diff_velo(){
	velo_diff =  (pos_lowpass - prevPos)/dt;
	//velo_diff2 = (current_rad_wrap -  prevPos2)/dt;
	DegAbs[0][0] = velo_diff;
	prevPos = pos_lowpass;
}
void Kalman_filter()
{
	prediction(X_hat_t,P_t,F_t,Q_t);
	Update(X_hat_t,P_hat_t,DegAbs,R_t,H_t);
	kal_position = X_t[0][0];
	kal_velocity = X_t[1][0];
	kal_acceleration = X_t[2][0];
	equal(X_hat_t,X_t,3,3);  //X_hat_t = X_t
	equal(P_hat_t,P_t,3,3); //P_hat_t = P_t
}
void prediction(X_hat_t_1, P_t_1, F_t, Q_t)
{
	Multiply_matrix(F_t,X_hat_t_1,multiply, 3,3,3,3);
	equal(X_hat_t,multiply,3,3);

	Multiply_matrix(F_t,P_t_1,multiply, 3,3,3,3);
	equal(collect3_3,multiply,3,3);
	Multiply_matrix(collect3_3,F_t_tran,multiply, 3,3,3,3);
	PlusOrMinus(multiply,Q_t,3,3,1);
	equal(P_hat_t,pm3_3,3,3);
}

void Update(X_hat_t, P_hat_t, DegAbs, R_t, H_t)
{
	Multiply_matrix(H_t,X_hat_t,multiply,3,3,3,3);
	PlusOrMinus(DegAbs,multiply,3,3,2);
	equal(y_k,pm3_3,3,3);

	Multiply_matrix(H_t,P_hat_t,multiply,3,3,3,3);
	equal(collect3_3,multiply,3,3);
	Multiply_matrix(collect3_3,H_t_tran,multiply, 3,3,3,3);
	PlusOrMinus(multiply,R_t,3,3,1);
	equal(S_k,pm3_3,3,3);

	S_k[0][0] = 1/S_k[0][0];
	Multiply_matrix(P_hat_t,H_t_tran,multiply,3,3,3,3);
	equal(collect3_3,multiply,3,3);
	Multiply_matrix(collect3_3,S_k,multiply, 3,3,3,3);
	equal(K_k,multiply,3,3);

	Multiply_matrix(K_k,y_k,multiply,3,3,3,3);
	PlusOrMinus(X_hat_t,multiply,3,3,1);
	equal(X_t,pm3_3,3,3);

	Multiply_matrix(K_k,H_t,multiply,3,3,3,3);
	PlusOrMinus(I,multiply,3,3,2);
	Multiply_matrix(pm3_3,P_hat_t,multiply,3,3,3,3);
	equal(P_t,multiply,3,3);
}

void Multiply_matrix(float A[][3], float B[][3],float multiply[][3],int row1,int col1,int row2,int col2)
{
	uint8_t i,j,k;
	//set zero
	for(i=0; i<3 ;i++){
		for(j=0; j<3;j++){
			multiply[i][j] = 0;
		}
	}

	for(i=0;i<row1;i++){
		for(j=0;j<col2;j++){
			for(k=0;k<col1;k++){
				multiply[i][j] += A[i][k]*B[k][j];
			}
		}
	}
}

void PlusOrMinus(float A[][3], float B[][3],int row,int col,int con)
{
	uint8_t i,j;
	//set zeros
	for(i=0; i<3 ;i++){
			for(j=0; j<3;j++){
				pm3_3[i][j] = 0;
			}
		}
	//condition for plus
	if(con == 1){
		for(i = 0; i < row; ++i){
			for (j = 0; j < col; ++j){
				pm3_3[i][j] = A[i][j] + B[i][j];
			}
		}
	}
	//condition for minus
	else if(con == 2){
		for(i = 0; i < row; ++i){
			for (j = 0; j < col; ++j){
				pm3_3[i][j] = A[i][j] - B[i][j];
			}
		}
	}
}

void equal(float A[][3],float B[][3],int row,int col)
{
	uint8_t i,j;
	for(i = 0; i < row; ++i){
		for (j = 0; j < col; ++j){
			A[i][j] = B[i][j];
		}
	}
}

void Trajectory(float qf,float vb)
{
	vb = vb/9.5493;
	float ab = 0.4;
	if(qf < 0.1){
		vb = 1.5/9.5493;
	}
	if(tuaall >= 0){
		tua = tuaall - 0;
		if(qf/vb > vb/ab){
			tb = vb/ab;
			vb_n = vb;

		}
		else{
			tb = sqrt(qf/ab);
			vb_n = sqrt(qf*ab);
		}
		tf = (2*tb) + ((qf-(vb_n*vb_n/ab))/vb_n);
		if(tua <= tb){
			tra_pos = 0.5*ab*tua*tua;
			tra_velo = ab*tua;
			tra_acc = ab;
			/*if(tra_velo < velostart){
				tra_velo = velostart;
			}*/
			start_tra = 1;
		}
		else if(tua < (tf-tb)){
			tra_pos = (0.5*ab*tb*tb) + (vb_n*(tua-tb));
			tra_velo = vb_n;
			tra_acc = 0;
			start_tra = 0;

		}
		else if(tua >= tf-tb && tua <= tf){
			tra_pos = (0.5*ab*tb*tb) + (vb_n*(tua-(tf-tb))) + (vb_n*(tf-(2*tb))) - (0.5*ab*(tua-(tf-tb))*(tua-(tf-tb)));
			tra_velo = vb_n - (ab*(tua-(tf-tb)));
			tra_acc = -ab;
			start_tra = 2;
		}
		if(tua <= tf){
			if(direct == 0){
				tra_pos = tra_pos*-1;
				tra_velo = tra_velo *-1;
				tra_acc = tra_acc *-1;
				tra_pos += rad_before;
			}
			else{
				tra_pos += rad_before;
			}
		}
	}
	else{
		tra_pos = 0;
		tra_velo = 0;
		tra_acc = 0;
	}

}
void Drivemotor(int PWM){
/*	if(PWM<=0 && PWM>=-10000){
		PWM = 10000-aaabs(PWM);
		htim2.Instance->CCR1=aaabs(PWM);
		htim2.Instance->CCR2=10000;
		}
	else if (PWM<-10000){
		htim2.Instance->CCR1=0;
		htim2.Instance->CCR2=10000;
	}else if(PWM>0 && PWM<=10000){
		PWM = 10000-PWM;
		htim2.Instance->CCR1=10000;
		htim2.Instance->CCR2=aaabs(PWM);
	}else if(PWM>10000){
		htim2.Instance->CCR1=10000;
		htim2.Instance->CCR2=0;
	}
}*/
	if(PWM<=0 && PWM>=-10000){
		PWM = aaabs(PWM);
		HAL_GPIO_WritePin(GPIOA, GPIO_PIN_0, GPIO_PIN_RESET);
		htim2.Instance->CCR2=PWM;
	}
	else if(PWM<-10000){
		HAL_GPIO_WritePin(GPIOA, GPIO_PIN_0, GPIO_PIN_RESET);
		htim2.Instance->CCR2=10000;
	}
	else if(PWM>0 && PWM<=10000){
		HAL_GPIO_WritePin(GPIOA, GPIO_PIN_0, GPIO_PIN_SET);
		htim2.Instance->CCR2=PWM;
	}else if(PWM>10000){
		HAL_GPIO_WritePin(GPIOA, GPIO_PIN_0, GPIO_PIN_SET);
		htim2.Instance->CCR2=10000;
	}
}

void NFcontacton(){
	HAL_I2C_Master_Transmit(&hi2c1, NFW_ADDR, &NFREG_ON, 1, 10);
	microsecDelay(60);
	//NFwriteFlag = 0;
}

void NFgetstate(){
	if( (hi2c1.State == HAL_I2C_STATE_READY && (HAL_GetTick()-NFtimest>500))){
		NFtimest = HAL_GetTick();
		HAL_I2C_Master_Transmit(&hi2c1, NFW_ADDR, &NFREG_INIT, 1, 10);
		microsecDelay(100);
		HAL_I2C_Master_Receive(&hi2c1, NFR_ADDR, &NFstate, 1, 10);
		microsecDelay(100);
		//NFreadFlag = 0;
	}
}

void AMT222getpos(uint16_t *data){

	switch(AMTstate){
	case 0:
		timeStamp = micros();
		HAL_GPIO_WritePin(GPIOB, GPIO_PIN_10, GPIO_PIN_RESET);
	    HAL_SPI_TransmitReceive_DMA(&hspi3, &AMTGETPOS[0], &AMTHbyte, 1);
	    AMTcomplete = 0;
		break;
	case 1:
		//microsecDelay(5);
		AMTstate+=1;
		AMTcomplete = 1;
		break;
	case 2:
		HAL_SPI_TransmitReceive_DMA(&hspi3, &AMTGETPOS[1], &AMTLbyte, 1);
		AMTcomplete = 0;
		break;
	case 3:
		AMTlogic_checkbit = AMT222checkbit( AMTHbyte, AMTLbyte);
	    if( AMTlogic_checkbit){
		    // Shift high bit to correct position and sum them.
		    rawPos = AMTLbyte + ((AMTHbyte & 0b00111111)<<8);
		     // Convert uint16 to angle variable.
		    current_rad = (((rawPos)*2*PI)/(16384));
		    if(setinitial == 0){
		    current_rad = offset - current_rad;
		    unwrapping();
			if(current_rad_wrap-prevPos2 > 0.2 || current_rad_wrap-prevPos2 < -0.2){
				current_rad_wrap = prevPos2;
			}
		    prevPos2 = current_rad_wrap;
		    deg = current_rad_wrap*57.2957795;
		    }
		    else{
		    	prevPos2 = 0;
		    }
			  /*if(current_rad <= 0){
				  current_rad = 6.28-(current_rad*-1);
			  }*/
	    }
		AMTstate = 0;
		AMTcomplete = 0;
		break;
	}
}
void HAL_SPI_TxRxCpltCallback(SPI_HandleTypeDef *hspi){
	if(hspi == &hspi3){
		AMTstate+=1;
		AMTcomplete = 1;
		if(AMTstate == 1){
			HAL_SPI_DMAStop(&hspi3);
		}
		else if(AMTstate == 3){
			//microsecDelay(5);
			HAL_GPIO_WritePin(GPIOB, GPIO_PIN_10, GPIO_PIN_SET);
			HAL_SPI_DMAStop(&hspi3);
		}
	}
}

uint8_t AMT222checkbit( uint8_t *H, uint8_t *L){

	uint8_t K1 = 0;
	uint8_t K0 = 0;

	K1 = !( ((*H>>5) & 0x01) ^ ((*H>>3) & 0x01) ^ ((*H>>1) & 0x01) ^
			((*L>>7) & 0x01) ^ ((*L>>5) & 0x01) ^ ((*L>>7) & 0x03) ^
			((*L>>1) & 0x01) );

	K0 = !( ((*H>>4) & 0x01) ^ ((*H>>2) & 0x01) ^ ((*H>>0) & 0x01) ^
			((*L>>6) & 0x01) ^ ((*L>>4) & 0x01) ^ ((*L>>2) & 0x03) ^
			((*L>>0) & 0x01) );

	if( (K1 == ((*H>>7) & 0x01)) && (K0 == ((*H>>6) & 0x01)) ){
		return 1;
	}
	else{
		return 0;
	}
}
void unwrapping(){
	  p_n = current_rad;
		if (p_n - p_n_1 <= -1*e)
		{
			p_0 = p_0_1 + p_max;
		}
		else if(p_n - p_n_1 >= e)
		{
			p_0 = p_0_1 - p_max;
		}
		else
		{
			p_0 = p_0_1;
		}
		//DegAbs[0][0] = (p_n + p_0); //สั�?�?าณที่ผ่าน�?าร unwrap �?ล้ว
		current_rad_wrap = (p_n + p_0);
		//Memory ให้�?ับตัว�?ปร p[n-1] �?ละ p0[n-1]
		p_n_1 = p_n;
		p_0_1 = p_0;
}
void microsecDelay(uint8_t delayTime){
	uint32_t startTime = micros(); 	//reference point to count passed time
	uint32_t passedTime  = 0;
	while (passedTime<delayTime){
		passedTime = micros() - startTime;
	}
}

uint32_t aaabs(int x){

	if(x<0){
		return x*-1;
	}else{
		return x;
	}
}

void HAL_GPIO_EXTI_Callback(uint16_t GPIO_Pin)
{
	if(GPIO_Pin == GPIO_PIN_13){
		blue = 1; // 0% duty cycle
	}

	if(GPIO_Pin == GPIO_PIN_8){
		static GPIO_PinState B1State[2] = {0};
		static GPIO_PinState B1Check;
		B1State[0]= HAL_GPIO_ReadPin(GPIOA, GPIO_PIN_8);
		B1Check = HAL_GPIO_ReadPin(GPIOA, GPIO_PIN_8);
		if(B1Check == GPIO_PIN_RESET){
			ch++;
		}
		if(B1State[1] == GPIO_PIN_RESET && B1State[0] == GPIO_PIN_SET && State != Emerstop){
			stop = 1;
		}
		B1State[1] = B1State[0];

	}
}

void HAL_TIM_PeriodElapsedCallback(TIM_HandleTypeDef *htim)
{
	if (htim == &htim11) {
		_micro += 65535;
	}
}

uint64_t micros()
{
	return _micro + htim11.Instance->CNT;
}

//----------------------------------------------------------------< UART >

void callUART(){
	HAL_UART_DMAStop(&huart2);
	switch(RxState){
	case 0:											// Receive 1 byte first by default.
		Start = (Receive[0] & 0xF0)>>4;
		Mode = (Receive[0] & 0x0F);
		if(Start == 0b1001){
			// 0b1001, 0b0100]
			sum = 0;
			sum += (Receive[0]);					// Sum the START & MODE bit.
			if(Mode == 0b0111){						// Mode7
				RxState = 2;
			}
			else{
				RxState = 1;						// Go to Interrupt Receive next round.
			}
			nbyte = frameConfig(Mode);				// Set a new size of buffer.
		}
		break;
	case 1:
		sum += frameSum( Receive, nbyte-1);			// (nbyte-1) Minus checksum out.
		if(Receive[nbyte-1] == checkSum(sum)){		// Corrected.
			// Receive[nbyte-1] == checkSum(sum)
			TxState = 1;
		}
		if(Mode == 1 || Mode == 9 || Mode == 10 || Mode == 11){
			nbyte = 1;								// For receive ACK
			RxState = 3;
		}
		else{
			endReceive = 1;
		}

		break;
	case 2:
		sum += (Receive[0]);
		nStation = Receive[0];					// Set received station.
		nDestination = Receive[0];				// Set received station.
		if(Receive[0] % 2 == 1){
			nbyte = ((Receive[0] + 1)/2)+1;
		}
		else{
			nbyte = (Receive[0]/2)+1;
		}
		RxState = 1;
		break;
	case 3:						// For Receive ACK frame
		if(Receive[0] == ACK1[0]){
			keepACK[0] = Receive[0];
		}
		else if(Receive[0] == ACK1[1]){
			keepACK[1] = Receive[0];
		}
		else{
			Start = (Receive[0] & 0xF0)>>4;
			Mode = (Receive[0] & 0x0F);
			if(Start == 0b1001){
				// 0b1001, 0b0100
				sum = 0;
				sum += (Receive[0]);				// Sum the START & MODE bit.
				if(Mode == 0b0111){					// Mode7
					RxState = 2;
				}
				else{
					RxState = 1;					// Go to Interrupt Receive next round.
				}
				nbyte = frameConfig(Mode);			// Set a new size of buffer.
			}
			TxState = 0;
			RxState = 1;
		}
		if(keepACK[0] == ACK1[0] && keepACK[1] == ACK1[1]){			// It's ACK
			keepACK[0] = 0;
			keepACK[1] = 0;
			ACKFlag = 1;
			RxState = 0;
			endReceive = 1;
		}
		break;
	}
	// if complete or fail -> reset communication rxstate=0, sum=0, mode=0, nbyte=1,
	if(endReceive){
		RxState = 0;
		nbyte = 1;
		sum = 0;
		endReceive = 0;
	}

	//RxComplete = 0;
}

void responseUART(){

	switch(Mode){

	case 0:
		break;

	case 1:	// <<<< 95% COMPLETE >>>>
		switch(TxState){
		case 0:
			break;
		case 1:
			HAL_UART_Transmit_DMA(&huart2, ACK1, 2);
			TxState = 2;
			break;
		case 2:
			Transmit[0] = 0b10010001;								// Store byte to Transmit.
			Transmit[1] = Receive[0];
			Transmit[2] = Receive[1];
			Transmit[3] = checkSum(frameSum(Transmit, 3));			// Let the last byte equal to checksum of 1st-3rd byte.
			RxState = 3;
			TxState = 3;
			break;
		case 3:
			if(huart2.gState == HAL_UART_STATE_READY){
				HAL_UART_Transmit_DMA(&huart2, Transmit, 4);		// Transmit command back.
				TxState = 4;
			}
			break;
		case 4:
			if(ACKFlag){
				ACKFlag = 0;
				TxState = 0;
			}
			break;
		}
		break;

	case 2:	// <<<< COMPLETE >>>>
		// Connect
		switch(TxState){
		case 0:
			break;
		case 1:
			HAL_UART_Transmit_DMA(&huart2, ACK1, 2);
			HAL_GPIO_WritePin(GPIOB, GPIO_PIN_10, GPIO_PIN_SET);
			TxState = 0;
			break;
		}
		break;

	case 3:	// <<<< COMPLETE >>>>
		// Disconnect
		switch(TxState){
		case 0:
			break;
		case 1:
			HAL_UART_Transmit_DMA(&huart2, ACK1, 2);
			HAL_GPIO_WritePin(GPIOB, GPIO_PIN_10, GPIO_PIN_RESET);
			TxState = 0;
			break;
		}
		break;

	case 4:	// <<<< COMPLETE >>>>
		// Set limit of omega
		switch(TxState){
		case 0:
			break;
		case 1:
			limitOmega = (Receive[1]*10.0)/(255.0);
			HAL_UART_Transmit_DMA(&huart2, ACK1, 2);
			TxState = 0;
			break;
		}
		break;

	case 5: // <<<< 95% COMPLETE >>>>
		// Set new position()
		switch(TxState){
		case 0:
			break;
		case 1:
			nDestination = 1;
			Destination[0] = ( ( (Receive[0]*256)+(Receive[1]) )*(180) )/(10000*3.14);
			HAL_UART_Transmit_DMA(&huart2, ACK1, 2);
			TxState = 0;
			//timeStamp = HAL_GetTick();								// Optional
			break;
		}
		break;

	case 6:	// <<<< 95% COMPLETE >>>>
		// Set 1 station
		switch(TxState){
		case 0:
			break;
		case 1:
			nStation = 1;
			nDestination = 1;
			Destination[0] = tranStation(Receive[1]);
			HAL_UART_Transmit_DMA(&huart2, ACK1, 2);
			TxState = 0;
			//timeStamp = HAL_GetTick();								// Optional
			break;
		}
		break;

	case 7:
		// set n station
		switch(TxState){
		case 0:
			break;
		case 1:
			nDestination = nStation;
			for(int i=0; i<(nStation+(nStation%2)); i+=2){
				Destination[i] = tranStation(Receive[j] & 0x0F);
				Destination[i+1] = tranStation((Receive[j] & 0xF0)>>4);
				j+=1;
			}
			HAL_UART_Transmit_DMA(&huart2, ACK1, 2);
			j = 0;
			TxState = 0;
			break;
		}
		break;

	case 8:	// <<<< 95% COMPLETE >>>>
		// Go!
		switch(TxState){
		case 0:
			break;
		case 1:
			HAL_UART_Transmit_DMA(&huart2, ACK1, 2);
			update = 1;
			movingFlag = 8;
			TxState = 0;
			//timeStamp = HAL_GetTick();								// Optional
			break;
		}
		break;

	case 9:	// <<<< 95% COMPLETE >>>>
		// transmit station
		switch(TxState){
		case 0:
			break;
		case 1:
			HAL_UART_Transmit_DMA(&huart2, ACK1, 2);
			TxState = 2;
			break;
		case 2:
			Transmit[0] = 0b10011001;								// Store byte to Transmit.
			Transmit[1] = 0;
			Transmit[2] = nowStation;								// Value from state machine.
			Transmit[3] = checkSum(frameSum(Transmit, 3));			// Let the last byte equal to checksum of 1st-3rd byte.
			RxState = 3;
			TxState = 3;
			break;
		case 3:
			if(huart2.gState == HAL_UART_STATE_READY){
				HAL_UART_Transmit_DMA(&huart2, Transmit, 4);		// Transmit command back.
				TxState = 4;
			}
			break;
		case 4:
			if(ACKFlag){
				ACKFlag = 0;
				TxState = 0;
			}
			break;
		}
		break;

	case 10:	// <<<< 95% COMPLETE >>>>
		// transmit theta (rad variable)
		switch(TxState){
		case 0:
			break;
		case 1:
			HAL_UART_Transmit_DMA(&huart2, ACK1, 2);
			TxState = 2;
			break;
		case 2:
			Transmit[0] = 0b10011010;								// Store byte to Transmit.
			Transmit[1] = ( (uint16_t)(current_rad_wrap*10000)) >> 8;									// 16bit value from encoder.
			Transmit[2] = ( (uint16_t)(current_rad_wrap*10000)) & 0xFF;
			if(HAL_GetTick()-HMEtimeStamp < 1000){
				Transmit[1] = 0;
				Transmit[2] = 0;
			}
			Transmit[3] = checkSum(frameSum(Transmit, 3));			// Let the last byte equal to checksum of 1st-3rd byte.
			RxState = 3;
			TxState = 3;
			break;
		case 3:
			if(huart2.gState == HAL_UART_STATE_READY){
				HAL_UART_Transmit_DMA(&huart2, Transmit, 4);		// Transmit command back.
				TxState = 4;
			}
			break;
		case 4:
			if(ACKFlag){
				ACKFlag = 0;
				TxState = 0;
			}
			break;
		}
		break;

	case 11:	// <<<< 95% COMPLETE >>>>
		// transmit top omega (rad variable)
		switch(TxState){
		case 0:
			break;
		case 1:
			HAL_UART_Transmit_DMA(&huart2, ACK1, 2);
			TxState = 2;
			break;
		case 2:
			Transmit[0] = 0b10011011;								// Store byte to Transmit.
			Transmit[1] = 0;
			if(direct == 0){
				send_velocity = -kal_velocity;
			}
			else{
				send_velocity = kal_velocity;
			}
			Transmit[2] = (send_velocity*255*9.5493)/(10);
			// Transmit[2] = ((topOmega*255)/(10))
			Transmit[3] = checkSum(frameSum(Transmit, 3));			// Let the last byte equal to checksum of 1st-3rd byte.
			RxState = 3;
			TxState = 3;
			break;
		case 3:
			if(huart2.gState == HAL_UART_STATE_READY){
				HAL_UART_Transmit_DMA(&huart2, Transmit, 4);		// Transmit command back.
				TxState = 4;
			}
			break;
		case 4:
			if(ACKFlag){
				ACKFlag = 0;
				TxState = 0;
			}
			break;
		}
		break;

	case 12:
		// Enable end-effector
		switch(TxState){
		case 0:
			if(huart2.gState == HAL_UART_STATE_READY){
				//enable endf
			}
			break;
		case 1:
			NFenable = 1;
			HAL_UART_Transmit_DMA(&huart2, ACK1, 2);
			TxState = 0;
			break;
		}
		break;

	case 13:
		// Disable end-effector
		switch(TxState){
		case 0:
			break;
		case 1:
			NFenable = 0;
			HAL_UART_Transmit_DMA(&huart2, ACK1, 2);
			TxState = 0;
			break;
		}
		break;

	case 14:	// <<<< 95% COMPLETE >>>>
		// Set home
		switch(TxState){
		case 0:
			break;
		case 1:
			HAL_UART_Transmit_DMA(&huart2, ACK1, 2);
			setzero = 1;
			movingFlag = 14;
			TxState = 0;
			//timeStamp = HAL_GetTick();								// Optional
			break;
		}
		break;
	}
}

uint16_t tranStation(uint8_t num){
	switch(num){
	case 1:
		return 90;
		break;
	case 2:
		return 180;
		break;
	case 3:
		return 330;
		break;
	case 4:
		return 0;
		break;
	case 5:
		return 180;
		break;
	case 6:
		return 0;
		break;
	case 7:
		return 180;
		break;
	case 8:
		return 5;
		break;
	case 9:
		return 30;
		break;
	case 10:
		return 60;
		break;
	}
}

void destinationACK(){
	if(movingFlag != 0 && Reached ){
		//((HAL_GetTick()-timeStamp > 10000) || Reached)
	    switch(movingFlag){
	    case 8:
		  HAL_UART_Transmit_DMA(&huart2, ACK2, 2);
		  break;
	    case 14:
//	    	HAL_UART_Transmit_DMA(&huart2, ACK1, 2);
		  break;
	    }
	    movingFlag = 0;
	    Reached = 0;
  }
}

uint8_t frameConfig(uint8_t mode){
	if(mode == 2 || mode == 3 || mode == 8 || mode == 9 || mode == 10 || mode == 11 || mode == 12 || mode == 13 || mode == 14){
		return 1;
	}
	else if(mode == 1 || mode == 4 || mode == 5 ||  mode == 6){
		return 3;
	}
	else if(mode == 7){
		return 1;									// Keep the number of byte first. (nStation)
	}
	return 0;
}

uint8_t checkSum(uint8_t var){
	//cSum = (~(var%256))%256;						// Spectrator variable
	return (~(var%256))%256;
}

uint8_t frameSum(uint8_t *frame, uint8_t num){
	uint8_t var = 0;
	for( int i=0; i<num; i+=1){
		var += frame[i];							// Sum all the bits in buffer.
	}
	return var;
}

void HAL_UART_RxCpltCallback(UART_HandleTypeDef *huart){
	//RxComplete = 1;
	callUART();
	HAL_UART_Receive_DMA(&huart2, Receive, nbyte);
}

/* USER CODE END 4 */

void Error_Handler(void)
{
  __disable_irq();
  while (1)
  {
  }
}
